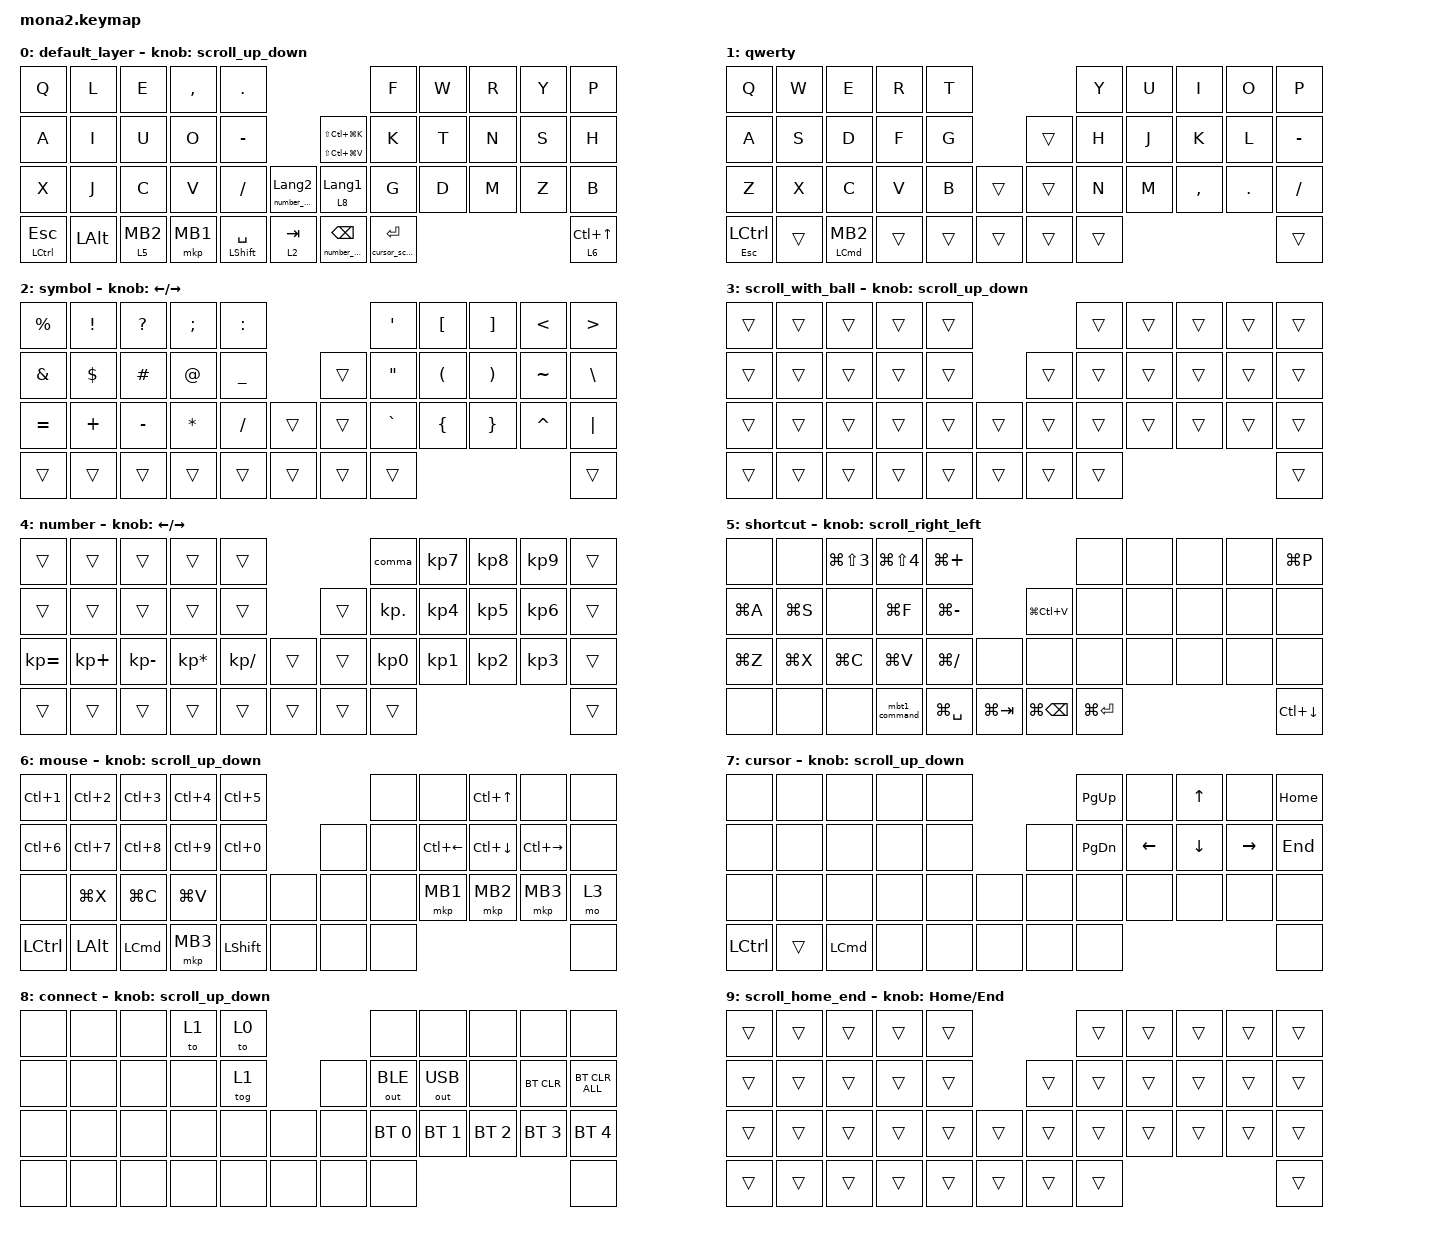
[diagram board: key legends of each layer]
#include <input/processors.dtsi>
#include <dt-bindings/zmk/input_transform.h>
#include <zephyr/dt-bindings/input/input-event-codes.h>
#include <behaviors.dtsi>
#include <dt-bindings/zmk/bt.h>
#include <dt-bindings/zmk/keys.h>
#include <dt-bindings/zmk/outputs.h>
#include <dt-bindings/zmk/pointing.h>

#define ZMK_POINTING_DEFAULT_SCRL_VAL 100
#define MOUSE 5
#define SCROLL 6

&mt {
    flavor = "hold-preferred";
    quick-tap-ms = <300>;
    tapping-term-ms = <170>;
    retro-tap;
};

&lt {
    quick-tap-ms = <300>;
    flavor = "hold-preferred";
    tapping-term-ms = <170>;
    retro-tap;
};

/ {
    combos {
        compatible = "zmk,combos";

        mo_symbol {
            bindings = <&mo 2>;
            key-positions = <39 40>;
            layers = <0 2>;
        };
    };

    macros {
        to_layer_0: to_layer_0 {
            compatible = "zmk,behavior-macro-one-param";
            #binding-cells = <1>;
            bindings = <&to 0 &macro_param_1to1 &kp MACRO_PLACEHOLDER>;
            label = "TO_LAYER_0";
        };

        number_with_symbols: number_with_symbols {
            compatible = "zmk,behavior-macro";
            #binding-cells = <0>;
            bindings =
                <&macro_press>,
                <&mo 4 &mo 2 &mo 3>,
                <&macro_pause_for_release>,
                <&macro_release>,
                <&mo 3 &mo 2 &mo 4>;

            label = "NUMBER_WITH_SYMBOLS";
        };

        mbt1_command: mbt1_command {
            compatible = "zmk,behavior-macro";
            #binding-cells = <0>;
            bindings =
                <&macro_press>,
                <&kp LEFT_COMMAND &mkp MB1>,
                <&macro_pause_for_release>,
                <&macro_release>,
                <&mkp MB1 &kp LEFT_COMMAND>;

            label = "MBT1_COMMAND";
        };

        cursor_scroll: cursor_scroll {
            compatible = "zmk,behavior-macro";
            #binding-cells = <0>;
            bindings =
                <&macro_press>,
                <&mo 7 &mo 3>,
                <&macro_pause_for_release>,
                <&macro_release>,
                <&mo 3 &mo 7>;

            label = "CURSOR_SCROLL";
        };

        comma: comma {
            compatible = "zmk,behavior-macro";
            #binding-cells = <0>;
            bindings = <&kp LANGUAGE_2 &kp COMMA>;
            label = "COMMA";
        };

        flow_hold: flow_hold {
            compatible = "zmk,behavior-macro";
            #binding-cells = <0>;
            bindings =
                <&macro_press>,
                <&kp GLOBE>,
                <&macro_tap>,
                <&kp SPACE>,
                <&macro_release>,
                <&kp GLOBE>;

            label = "FLOW_HOLD";
        };
    };

    behaviors {
        lt_to_layer_0: lt_to_layer_0 {
            compatible = "zmk,behavior-hold-tap";
            label = "LAYER_TAP_TO_0";
            bindings = <&mo>, <&to_layer_0>;

            #binding-cells = <2>;
            tapping-term-ms = <200>;
        };

        scroll_up_down: mouse_wheel_up_down {
            compatible = "zmk,behavior-sensor-rotate";
            #sensor-binding-cells = <0>;
            bindings = <&msc SCRL_DOWN>, <&msc SCRL_UP>;

            tap-ms = <20>;
        };

        scroll_right_left: mouse_wheel_right_left {
            compatible = "zmk,behavior-sensor-rotate";
            #sensor-binding-cells = <0>;
            bindings = <&msc SCRL_LEFT>, <&msc SCRL_RIGHT>;

            tap-ms = <20>;
        };

        ht_rclk_mo: ht_rclk_mo {
            compatible = "zmk,behavior-hold-tap";
            label = "HT_RCLK_MO";
            #binding-cells = <2>;
            bindings = <&mo>, <&mkp>;

            tapping-term-ms = <170>;
            flavor = "tap-preferred";
        };

        mo_mkp: mo_mkp {
            compatible = "zmk,behavior-hold-tap";
            label = "MO_MKP";
            #binding-cells = <2>;
            bindings = <&mo>, <&mkp>;

            tapping-term-ms = <170>;
            flavor = "balanced";
        };

        kp_num_sym: kp_num_sym {
            compatible = "zmk,behavior-hold-tap";
            label = "KP_NUM_SYM";
            #binding-cells = <2>;
            bindings = <&number_with_symbols>, <&kp>;

            tapping-term-ms = <170>;
            flavor = "hold-preferred";
            quick-tap-ms = <300>;
        };

        kp_cursor_scroll: kp_cursor_scroll {
            compatible = "zmk,behavior-hold-tap";
            label = "KP_CURSOR_SCROLL";
            bindings = <&cursor_scroll>, <&kp>;

            #binding-cells = <2>;
            tapping-term-ms = <170>;
            flavor = "hold-preferred";
            quick-tap-ms = <300>;
        };

        scroll_home_end: scroll_home_end {
            compatible = "zmk,behavior-sensor-rotate";
            #sensor-binding-cells = <0>;
            tap-ms = <20>;
            label = "SCROLL_HOME_END";
            bindings = <&kp HOME>, <&kp PAGE_DOWN>;
        };

        scroll_pgup_pgdn: scroll_pgup_pgdn {
            compatible = "zmk,behavior-sensor-rotate";
            #sensor-binding-cells = <0>;
            tap-ms = <20>;
            label = "SCROLL_PGUP_PGDN";
            bindings = <&kp PAGE_UP>, <&kp PAGE_DOWN>;
        };

        mo_tog: mo_tog {
            compatible = "zmk,behavior-hold-tap";
            label = "MO_TOG";
            #binding-cells = <2>;
            bindings = <&mo>, <&tog>;

            tapping-term-ms = <170>;
            flavor = "balanced";
        };

        kp_mkp: kp_mkp {
            compatible = "zmk,behavior-hold-tap";
            label = "KP_MKP";
            #binding-cells = <2>;
            bindings = <&kp>, <&mkp>;

            tapping-term-ms = <170>;
            flavor = "balanced";
        };

        flow: flow {
            compatible = "zmk,behavior-hold-tap";
            label = "FLOW";
            bindings = <&kp>, <&flow_hold>;

            #binding-cells = <2>;
            tapping-term-ms = <170>;
        };

        hp_mt: hp_mt {
            compatible = "zmk,behavior-hold-tap";
            label = "HP_MT";
            #binding-cells = <2>;
            bindings = <&kp>, <&kp>;

            tapping-term-ms = <170>;
            flavor = "tap-preferred";
        };
    };

    keymap {
        compatible = "zmk,keymap";

        default_layer {
            bindings = <
&kp Q                 &kp L         &kp E          &kp COMMA  &kp PERIOD                                                                            &kp F                      &kp W  &kp R  &kp Y  &kp P
&kp A                 &kp I         &kp U          &kp O      &kp MINUS                                         &hp_mt LS(LC(LG(V))) LS(LC(LG(K)))  &kp K                      &kp T  &kp N  &kp S  &kp H
&kp X                 &kp J         &kp C          &kp V      &kp SLASH             &kp_num_sym 0 LANGUAGE_2    &lt 8 LANGUAGE_1                    &kp G                      &kp D  &kp M  &kp Z  &kp B
&mt LEFT_CONTROL ESC  &kp LEFT_ALT  &mo_mkp 5 MB2  &mkp MB1   &mt LEFT_SHIFT SPACE  &lt 2 TAB                   &kp_num_sym 0 BACKSPACE             &kp_cursor_scroll 0 ENTER                       &lt 6 LC(UP)
            >;

            sensor-bindings = <&scroll_up_down>;
        };

        qwerty {
            bindings = <
&kp Q                 &kp W   &kp E                     &kp R   &kp T                     &kp Y   &kp U  &kp I      &kp O    &kp P
&kp A                 &kp S   &kp D                     &kp F   &kp G             &trans  &kp H   &kp J  &kp K      &kp L    &kp MINUS
&kp Z                 &kp X   &kp C                     &kp V   &kp B   &trans    &trans  &kp N   &kp M  &kp COMMA  &kp DOT  &kp FSLH
&mt ESC LEFT_CONTROL  &trans  &kp_mkp LEFT_COMMAND MB2  &trans  &trans  &trans    &trans  &trans                             &trans
            >;
        };

        symbol {
            bindings = <
&kp PERCENT    &kp EXCLAMATION  &kp QUESTION  &kp SEMICOLON  &kp COLON                         &kp SINGLE_QUOTE   &kp LEFT_BRACKET      &kp RIGHT_BRACKET      &kp LESS_THAN  &kp GREATER_THAN
&kp AMPERSAND  &kp DOLLAR       &kp HASH      &kp AT_SIGN    &kp UNDERSCORE            &trans  &kp DOUBLE_QUOTES  &kp LEFT_PARENTHESIS  &kp RIGHT_PARENTHESIS  &kp TILDE      &kp BACKSLASH
&kp EQUAL      &kp PLUS         &kp MINUS     &kp ASTERISK   &kp SLASH       &trans    &trans  &kp GRAVE          &kp LEFT_BRACE        &kp RIGHT_BRACE        &kp CARET      &kp PIPE
&trans         &trans           &trans        &trans         &trans          &trans    &trans  &trans                                                                         &trans
            >;

            sensor-bindings = <&inc_dec_kp LEFT RIGHT>;
        };

        scroll_with_ball {
            bindings = <
&trans  &trans  &trans  &trans  &trans                    &trans  &trans  &trans  &trans  &trans
&trans  &trans  &trans  &trans  &trans            &trans  &trans  &trans  &trans  &trans  &trans
&trans  &trans  &trans  &trans  &trans  &trans    &trans  &trans  &trans  &trans  &trans  &trans
&trans  &trans  &trans  &trans  &trans  &trans    &trans  &trans                          &trans
            >;

            sensor-bindings = <&scroll_up_down>;
        };

        number {
            bindings = <
&trans        &trans       &trans        &trans           &trans                          &comma           &kp KP_NUMBER_7  &kp KP_NUMBER_8  &kp KP_NUMBER_9  &trans
&trans        &trans       &trans        &trans           &trans                  &trans  &kp KP_DOT       &kp KP_NUMBER_4  &kp KP_NUMBER_5  &kp KP_NUMBER_6  &trans
&kp KP_EQUAL  &kp KP_PLUS  &kp KP_MINUS  &kp KP_ASTERISK  &kp KP_SLASH  &trans    &trans  &kp KP_NUMBER_0  &kp KP_NUMBER_1  &kp KP_NUMBER_2  &kp KP_NUMBER_3  &trans
&trans        &trans       &trans        &trans           &trans        &trans    &trans  &trans                                                              &trans
            >;

            sensor-bindings = <&inc_dec_kp LEFT RIGHT>;
        };

        shortcut {
            bindings = <
&none      &none      &kp LG(LS(N3))  &kp LG(LS(N4))  &kp LG(PLUS)                                     &none          &none  &none  &none  &kp LG(P)
&kp LG(A)  &kp LG(S)  &none           &kp LG(F)       &kp LG(MINUS)                 &kp LG(LC(V))      &none          &none  &none  &none  &none
&kp LG(Z)  &kp LG(X)  &kp LG(C)       &kp LG(V)       &kp LG(SLASH)  &none          &none              &none          &none  &none  &none  &none
&none      &none      &none           &mbt1_command   &kp LG(SPACE)  &kp LG(TAB)    &kp LG(BACKSPACE)  &kp LG(ENTER)                       &kp LC(DOWN)
            >;

            sensor-bindings = <&scroll_right_left>;
        };

        mouse {
            bindings = <
&kp LC(NUMBER_1)  &kp LC(NUMBER_2)  &kp LC(N3)        &kp LC(NUMBER_4)  &kp LC(NUMBER_5)                  &none  &none         &kp LC(UP)    &none          &none
&kp LC(NUMBER_6)  &kp LC(NUMBER_7)  &kp LC(NUMBER_8)  &kp LC(NUMBER_9)  &kp LC(NUMBER_0)           &none  &none  &kp LC(LEFT)  &kp LC(DOWN)  &kp LC(RIGHT)  &none
&none             &kp LG(X)         &kp LG(C)         &kp LG(V)         &none             &none    &none  &none  &mkp MB1      &mkp MB2      &mkp MB3       &mo 3
&kp LEFT_CONTROL  &kp LEFT_ALT      &kp LEFT_COMMAND  &mkp MB3          &kp LEFT_SHIFT    &none    &none  &none                                             &none
            >;

            sensor-bindings = <&scroll_up_down>;
        };

        cursor {
            bindings = <
&none      &none   &none             &none  &none                  &kp PAGE_UP    &none           &kp UP_ARROW    &none            &kp HOME
&none      &none   &none             &none  &none           &none  &kp PAGE_DOWN  &kp LEFT_ARROW  &kp DOWN_ARROW  &kp RIGHT_ARROW  &kp END
&none      &none   &none             &none  &none  &none    &none  &none          &none           &none           &none            &none
&kp LCTRL  &trans  &kp LEFT_COMMAND  &none  &none  &none    &none  &none                                                           &none
            >;

            sensor-bindings = <&scroll_up_down>;
        };

        connect {
            bindings = <
&none  &none  &none  &to 1  &to 0                   &none         &none         &none         &none         &none
&none  &none  &none  &none  &tog 1           &none  &out OUT_BLE  &out OUT_USB  &none         &bt BT_CLR    &bt BT_CLR_ALL
&none  &none  &none  &none  &none   &none    &none  &bt BT_SEL 0  &bt BT_SEL 1  &bt BT_SEL 2  &bt BT_SEL 3  &bt BT_SEL 4
&none  &none  &none  &none  &none   &none    &none  &none                                                   &none
            >;

            sensor-bindings = <&scroll_up_down>;
        };

        scroll_home_end {
            bindings = <
&trans  &trans  &trans  &trans  &trans                    &trans  &trans  &trans  &trans  &trans
&trans  &trans  &trans  &trans  &trans            &trans  &trans  &trans  &trans  &trans  &trans
&trans  &trans  &trans  &trans  &trans  &trans    &trans  &trans  &trans  &trans  &trans  &trans
&trans  &trans  &trans  &trans  &trans  &trans    &trans  &trans                          &trans
            >;

            sensor-bindings = <&inc_dec_kp HOME END>;
        };
    };

    conditional_layers { compatible = "zmk,conditional-layers"; };
};
